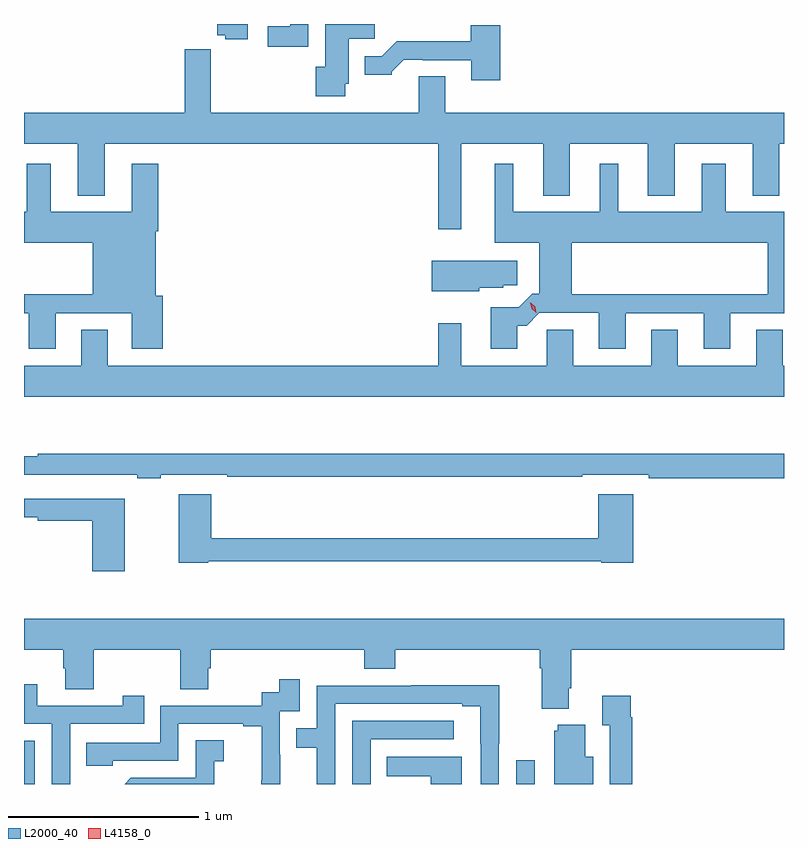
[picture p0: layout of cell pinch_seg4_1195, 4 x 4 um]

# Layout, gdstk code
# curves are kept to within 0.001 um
import gdstk
lib = gdstk.Library(unit=1e-6, precision=1e-09)
def R(c, l, rs):  # rectangles x0, y0, x1, y1
    for r in rs: c.add(gdstk.rectangle(r[:2], r[2:], *l))
def P(c, l, *ps):  # polygons
    for p in ps: c.add(gdstk.Polygon(p, *l))
L2000_40 = (2000, 40)
L4158_0 = (4158, 0)

pinch_seg4_1195 = lib.new_cell('pinch_seg4_1195')
R(pinch_seg4_1195, L2000_40, [(380.979,793.45,381.036,793.677), (383.571,793.45,383.667,793.576)])
P(pinch_seg4_1195, L2000_40, [(382.156,797.45),(381.996,797.45),(381.996,797.39),(382.038,797.39),(382.038,797.371),(382.156,797.371)],
  [(382.476,797.45),(382.38,797.45),(382.38,797.439),(382.263,797.439),(382.263,797.331),(382.476,797.331)],
  [(382.671,797.136),(382.687,797.136),(382.687,797.373),(382.825,797.373),(382.825,797.45),(382.565,797.45),(382.565,797.226),(382.514,797.226),(382.514,797.07),(382.671,797.07)],
  [(383.486,797.443),(383.331,797.443),(383.331,797.359),(382.942,797.359),(382.863,797.28),(382.772,797.28),(382.772,797.183),(382.914,797.183),(382.914,797.198),(382.978,797.262),(383.077,797.262),(383.077,797.259),(383.333,797.259),(383.333,797.154),(383.486,797.154)],
  [(380.979,796.82),(381.263,796.82),(381.263,796.547),(381.403,796.547),(381.403,796.82),(383.16,796.82),(383.16,796.371),(383.281,796.371),(383.281,796.82),(383.711,796.82),(383.711,796.547),(383.851,796.547),(383.851,796.82),(384.263,796.82),(384.263,796.547),(384.403,796.547),(384.403,796.82),(384.815,796.82),(384.815,796.547),(384.955,796.547),(384.955,796.82),(384.979,796.82),(384.979,796.984),(383.197,796.984),(383.197,797.174),(383.057,797.174),(383.057,796.984),(381.962,796.984),(381.962,797.204),(381.961,797.204),(381.961,797.317),(381.826,797.317),(381.826,796.984),(380.979,796.984)],
  [(383.435,795.96),(383.435,795.741),(383.575,795.741),(383.575,795.863),(383.624,795.863),(383.691,795.93),(384.005,795.93),(384.005,795.741),(384.145,795.741),(384.145,795.927),(384.557,795.927),(384.557,795.741),(384.697,795.741),(384.697,795.927),(384.979,795.927),(384.979,796.462),(384.673,796.462),(384.673,796.714),(384.545,796.714),(384.545,796.462),(384.106,796.462),(384.106,796.714),(384.008,796.714),(384.008,796.462),(383.554,796.462),(383.554,796.714),(383.456,796.714),(383.456,796.298),(383.69,796.298),(383.69,796.031),(383.654,796.031),(383.651,796.028),(383.861,796.028),(383.861,796.298),(384.893,796.298),(384.893,796.028),(383.651,796.028),(383.583,795.96)],
  [(381.145,795.927),(381.545,795.927),(381.545,795.741),(381.71,795.741),(381.71,796.02),(381.673,796.02),(381.673,796.358),(381.686,796.358),(381.686,796.714),(381.545,796.714),(381.545,796.462),(381.121,796.462),(381.121,796.714),(380.993,796.714),(380.993,796.462),(380.979,796.462),(380.979,796.298),(381.341,796.298),(381.341,796.028),(380.979,796.028),(380.979,795.927),(381.005,795.927),(381.005,795.741),(381.145,795.741)],
  [(383.376,796.061),(383.502,796.061),(383.502,796.075),(383.575,796.075),(383.575,796.204),(383.126,796.204),(383.126,796.043),(383.376,796.043)],
  [(384.979,795.652),(384.973,795.652),(384.973,795.842),(384.833,795.842),(384.833,795.652),(384.421,795.652),(384.421,795.842),(384.281,795.842),(384.281,795.652),(383.869,795.652),(383.869,795.842),(383.73,795.842),(383.73,795.652),(383.281,795.652),(383.281,795.874),(383.16,795.874),(383.16,795.652),(381.421,795.652),(381.421,795.842),(381.281,795.842),(381.281,795.652),(380.979,795.652),(380.979,795.488),(384.979,795.488)],
  [(381.698,795.078),(382.048,795.078),(382.048,795.066),(383.918,795.066),(383.918,795.078),(384.268,795.078),(384.268,795.058),(384.979,795.058),(384.979,795.187),(381.052,795.187),(381.052,795.174),(380.979,795.174),(380.979,795.078),(381.574,795.078),(381.574,795.058),(381.698,795.058)],
  [(381.948,794.622),(384.018,794.622),(384.018,794.614),(384.185,794.614),(384.185,794.974),(384.002,794.974),(384.002,794.743),(381.965,794.743),(381.965,794.974),(381.794,794.974),(381.794,794.614),(381.948,794.614)],
  [(381.508,794.952),(380.979,794.952),(380.979,794.855),(381.052,794.855),(381.052,794.836),(381.338,794.836),(381.338,794.571),(381.508,794.571)],
  [(383.845,793.954),(383.858,793.954),(383.858,794.156),(384.979,794.156),(384.979,794.32),(380.979,794.32),(380.979,794.156),(381.185,794.156),(381.185,794.058),(381.197,794.058),(381.197,793.948),(381.345,793.948),(381.345,794.156),(381.802,794.156),(381.802,793.948),(381.949,793.948),(381.949,794.058),(381.962,794.058),(381.962,794.156),(382.769,794.156),(382.769,794.057),(382.934,794.057),(382.934,794.156),(383.693,794.156),(383.693,794.06),(383.705,794.06),(383.705,793.847),(383.845,793.847)],
  [(382.328,793.604),(382.326,793.604),(382.326,793.833),(382.431,793.833),(382.431,794.002),(382.323,794.002),(382.323,793.932),(382.23,793.932),(382.23,793.863),(381.696,793.863),(381.696,793.668),(381.307,793.668),(381.307,793.545),(381.447,793.545),(381.447,793.572),(381.792,793.572),(381.792,793.767),(382.133,793.767),(382.133,793.755),(382.229,793.755),(382.229,793.471),(382.228,793.471),(382.228,793.45),(382.328,793.45)],
  [(381.222,793.767),(381.611,793.767),(381.611,793.915),(381.5,793.915),(381.5,793.863),(381.049,793.863),(381.049,793.975),(380.979,793.975),(380.979,793.767),(381.126,793.767),(381.126,793.45),(381.222,793.45)],
  [(382.617,793.872),(383.285,793.872),(383.285,793.86),(383.381,793.86),(383.381,793.663),(383.382,793.663),(383.382,793.45),(383.478,793.45),(383.478,793.663),(383.481,793.663),(383.481,793.97),(383.017,793.97),(383.017,793.968),(382.521,793.968),(382.521,793.743),(382.411,793.743),(382.411,793.642),(382.521,793.642),(382.521,793.45),(382.617,793.45)],
  [(384.179,793.802),(384.172,793.802),(384.172,793.915),(384.023,793.915),(384.023,793.759),(384.063,793.759),(384.063,793.45),(384.179,793.45)],
  [(382.803,793.686),(383.242,793.686),(383.242,793.782),(382.707,793.782),(382.707,793.45),(382.803,793.45)],
  [(383.974,793.594),(383.932,793.594),(383.932,793.762),(383.789,793.762),(383.789,793.731),(383.771,793.731),(383.771,793.45),(383.974,793.45)],
  [(381.981,793.571),(382.03,793.571),(382.03,793.681),(381.882,793.681),(381.882,793.482),(381.54,793.482),(381.508,793.45),(381.981,793.45)],
  [(383.284,793.594),(382.888,793.594),(382.888,793.49),(383.119,793.49),(383.119,793.45),(383.284,793.45)])
P(pinch_seg4_1195, L4158_0, [(383.676,795.93),(383.676,795.93),(383.652,795.951),(383.644,795.982),(383.644,795.982),(383.645,795.982),(383.669,795.961),(383.676,795.931)])

lib.write_gds('pinch_seg4_1195.gds')
